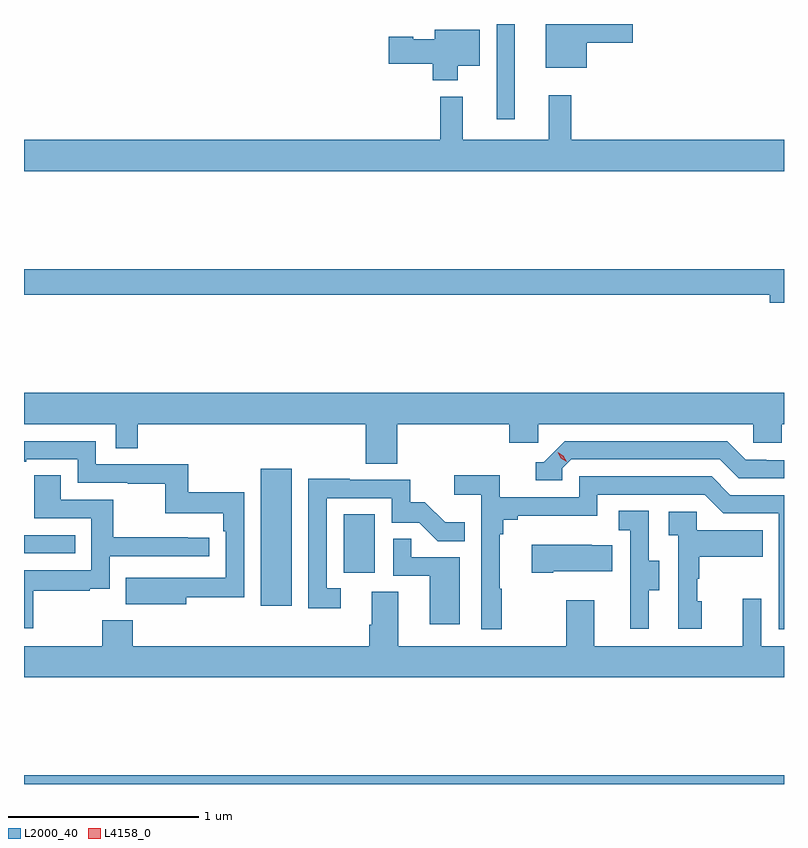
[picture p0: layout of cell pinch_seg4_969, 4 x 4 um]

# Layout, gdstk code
import gdstk
lib = gdstk.Library(unit=1e-6, precision=1e-09)
def R(c, l, rs):  # rectangles x0, y0, x1, y1
    for r in rs: c.add(gdstk.rectangle(r[:2], r[2:], *l))
def P(c, l, *ps):  # polygons
    for p in ps: c.add(gdstk.Polygon(p, *l))
L2000_40 = (2000, 40)
L4158_0 = (4158, 0)

pinch_seg4_969 = lib.new_cell('pinch_seg4_969')
R(pinch_seg4_969, L2000_40, [(864.714,781.606,868.714,781.652), (865.961,782.544,866.122,783.265), (866.396,782.718,866.56,783.025), (864.714,782.82,864.983,782.916), (867.201,785.106,867.298,785.606)])
P(pinch_seg4_969, L2000_40, [(867.676,785.507),(867.919,785.507),(867.919,785.606),(867.461,785.606),(867.461,785.375),(867.676,785.375)],
  [(866.998,785.387),(867.112,785.387),(867.112,785.575),(866.876,785.575),(866.876,785.527),(866.763,785.527),(866.763,785.54),(866.634,785.54),(866.634,785.398),(866.864,785.398),(866.864,785.309),(866.998,785.309)],
  [(868.714,784.996),(867.593,784.996),(867.593,785.23),(867.476,785.23),(867.476,784.996),(867.023,784.996),(867.023,785.224),(866.905,785.224),(866.905,784.996),(864.714,784.996),(864.714,784.832),(868.714,784.832)],
  [(868.714,784.316),(864.714,784.316),(864.714,784.18),(868.64,784.18),(868.64,784.138),(868.714,784.138)],
  [(866.678,783.5),(867.269,783.5),(867.269,783.402),(867.42,783.402),(867.42,783.5),(868.551,783.5),(868.551,783.402),(868.701,783.402),(868.701,783.5),(868.714,783.5),(868.714,783.664),(864.714,783.664),(864.714,783.5),(865.197,783.5),(865.197,783.373),(865.313,783.373),(865.313,783.5),(866.513,783.5),(866.513,783.292),(866.678,783.292)],
  [(867.546,783.267),(867.594,783.315),(868.377,783.315),(868.476,783.216),(868.714,783.216),(868.714,783.309),(868.62,783.309),(868.62,783.312),(868.513,783.312),(868.414,783.411),(867.561,783.411),(867.45,783.3),(867.407,783.3),(867.407,783.204),(867.546,783.204)],
  [(865.567,782.59),(865.872,782.59),(865.872,783.142),(865.579,783.142),(865.579,783.288),(865.092,783.288),(865.092,783.411),(864.714,783.411),(864.714,783.303),(864.727,783.303),(864.727,783.315),(864.996,783.315),(864.996,783.192),(865.261,783.192),(865.261,783.187),(865.458,783.187),(865.458,783.032),(865.763,783.032),(865.763,782.936),(865.776,782.936),(865.776,782.691),(865.463,782.691),(865.463,782.692),(865.249,782.692),(865.249,782.552),(865.567,782.552)],
  [(867.229,782.633),(867.217,782.633),(867.217,782.921),(867.236,782.921),(867.236,782.998),(867.313,782.998),(867.313,783.017),(867.732,783.017),(867.732,783.129),(868.296,783.129),(868.395,783.03),(868.686,783.03),(868.686,782.421),(868.714,782.421),(868.714,783.126),(868.432,783.126),(868.333,783.225),(867.636,783.225),(867.636,783.114),(867.218,783.114),(867.218,783.23),(866.979,783.23),(866.979,783.128),(867.12,783.128),(867.12,782.421),(867.229,782.421)],
  [(864.763,782.622),(865.061,782.622),(865.061,782.633),(865.164,782.633),(865.164,782.805),(865.69,782.805),(865.69,782.901),(865.577,782.901),(865.577,782.906),(865.184,782.906),(865.184,783.102),(864.907,783.102),(864.907,783.23),(864.767,783.23),(864.767,783.006),(865.068,783.006),(865.068,782.73),(864.714,782.73),(864.714,782.427),(864.763,782.427)],
  [(866.38,782.637),(866.307,782.637),(866.307,783.111),(866.649,783.111),(866.649,782.982),(866.793,782.982),(866.891,782.884),(867.035,782.884),(867.035,782.983),(866.931,782.983),(866.824,783.09),(866.748,783.09),(866.748,783.207),(866.429,783.207),(866.429,783.212),(866.211,783.212),(866.211,782.532),(866.38,782.532)],
  [(868.003,782.626),(868.057,782.626),(868.057,782.781),(868.002,782.781),(868.002,783.044),(867.843,783.044),(867.843,782.941),(867.906,782.941),(867.906,782.637),(867.905,782.637),(867.905,782.424),(868.003,782.424)],
  [(868.282,782.568),(868.257,782.568),(868.257,782.687),(868.267,782.687),(868.267,782.801),(868.601,782.801),(868.601,782.941),(868.254,782.941),(868.254,783.039),(868.107,783.039),(868.107,782.915),(868.158,782.915),(868.158,782.424),(868.282,782.424)],
  [(867.007,782.799),(866.753,782.799),(866.753,782.897),(866.658,782.897),(866.658,782.703),(866.849,782.703),(866.849,782.448),(867.007,782.448)],
  [(867.499,782.726),(867.809,782.726),(867.809,782.863),(867.701,782.863),(867.701,782.866),(867.387,782.866),(867.387,782.719),(867.499,782.719)],
  [(868.714,782.332),(868.593,782.332),(868.593,782.581),(868.496,782.581),(868.496,782.332),(867.715,782.332),(867.715,782.572),(867.568,782.572),(867.568,782.332),(866.683,782.332),(866.683,782.618),(866.543,782.618),(866.543,782.444),(866.531,782.444),(866.531,782.332),(865.286,782.332),(865.286,782.467),(865.126,782.467),(865.126,782.332),(864.714,782.332),(864.714,782.168),(868.714,782.168)])
P(pinch_seg4_969, L4158_0, [(867.57,783.301),(867.539,783.32),(867.522,783.352),(867.522,783.353),(867.522,783.353),(867.553,783.334),(867.57,783.301),(867.57,783.301)])

lib.write_gds('pinch_seg4_969.gds')
